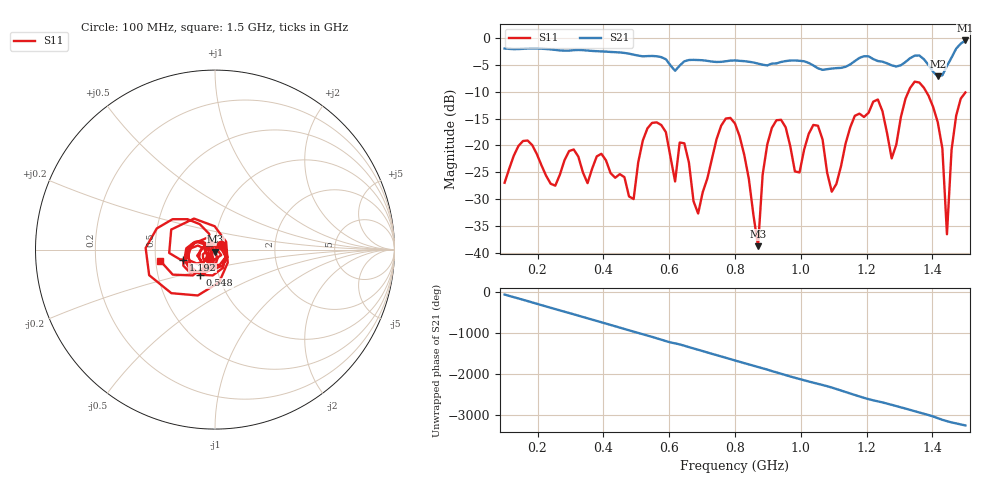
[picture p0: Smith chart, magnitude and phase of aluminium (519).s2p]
! NanoVNA-App
! Date: 2025-09-25 14:59:19
! Start: 100MHz Stop: 1,5GHz Points: 101
! S-Parameter data: F S11 S21 S12 S22
# Hz S RI R 50
!  Frequency  S11_Real  S11_Imag  S21_Real  S21_Imag  S12_Real  S12_Imag  S22_Real  S22_Imag
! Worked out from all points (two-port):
!   101 points, 100 MHz to 1.5 GHz, reference 50 ohm
!   highest |S21| = -0.41 dB at 1.5 GHz (marker M1); lowest = -7.1 dB at 1.416 GHz (marker M2)
!   |S21| within 3 dB of the highest: start of sweep to 566.8 MHz; 1.46 GHz to end of sweep (the widest 2 of 4)
!   lowest |S11| = -38.8 dB at 870 MHz (marker M3), VSWR 1.02, Z = 50.2 - j1.13 ohm
!   |S11| at or under -10 dB: start of sweep to 1.327 GHz; 1.381 GHz to end of sweep
!   S12 and S22 are empty: the file has one direction only
!   S11 on the Smith chart (normalised r, x): 100 MHz: 1.07, +0.06; 548 MHz: 0.82, -0.24; 1.192 GHz: 0.70, -0.08; 1.5 GHz: 0.53, -0.07
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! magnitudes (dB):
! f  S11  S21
! 100 MHz  -27.0  -1.9
! 156 MHz  -19.2  -2.0
! 338 MHz  -25.0  -2.2
! 492 MHz  -30.0  -3.1
! 548 MHz  -15.8  -3.3
! 576 MHz  -16.2  -3.5
! 646 MHz  -19.6  -4.3
! 688 MHz  -32.7  -4.1
! 800 MHz  -15.9  -4.1
! 870 MHz  -38.8  -4.7
! 912 MHz  -16.7  -4.7
! 996 MHz  -25.0  -4.2
! 1.038 GHz  -16.2  -5.1
! 1.094 GHz  -28.6  -5.7
! 1.192 GHz  -14.7  -3.4
! 1.234 GHz  -11.4  -4.3
! 1.276 GHz  -22.4  -5.1
! 1.346 GHz  -8.1  -3.3
! 1.416 GHz  -15.7  -7.1
! 1.444 GHz  -36.6  -5.2
! 1.458 GHz  -20.8  -3.6
! 1.5 GHz  -10.1  -0.4
